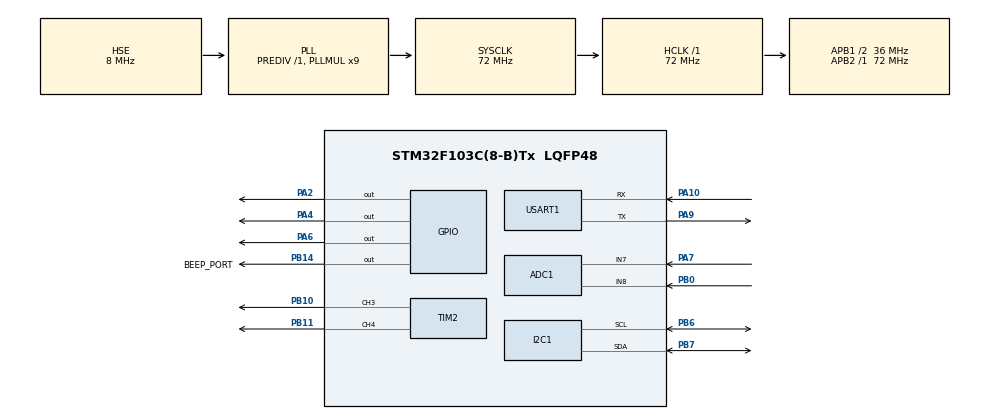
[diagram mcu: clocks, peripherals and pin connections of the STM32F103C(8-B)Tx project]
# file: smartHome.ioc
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ADC1.Channel-16\#ChannelRegularConversion=ADC_CHANNEL_8
ADC1.Channel-17\#ChannelRegularConversion=ADC_CHANNEL_7
ADC1.ContinuousConvMode=DISABLE
ADC1.ExternalTrigConv=ADC_SOFTWARE_START
ADC1.NbrOfConversion=2
ADC1.NbrOfConversionFlag=1
ADC1.Rank-16\#ChannelRegularConversion=1
ADC1.Rank-17\#ChannelRegularConversion=2
ADC1.SamplingTime-16\#ChannelRegularConversion=ADC_SAMPLETIME_1CYCLE_5
ADC1.SamplingTime-17\#ChannelRegularConversion=ADC_SAMPLETIME_1CYCLE_5
ADC1.master=1
Dma.ADC1.0.Direction=DMA_PERIPH_TO_MEMORY
Dma.ADC1.0.Instance=DMA1_Channel1
Dma.ADC1.0.MemDataAlignment=DMA_MDATAALIGN_HALFWORD
Dma.ADC1.0.MemInc=DMA_MINC_ENABLE
Dma.ADC1.0.Mode=DMA_NORMAL
Dma.ADC1.0.PeriphDataAlignment=DMA_PDATAALIGN_HALFWORD
Dma.ADC1.0.PeriphInc=DMA_PINC_DISABLE
Dma.ADC1.0.Priority=DMA_PRIORITY_LOW
Dma.Request0=ADC1
I2C1.I2C_Mode=I2C_Fast
Mcu.Family=STM32F1
Mcu.Name=STM32F103C(8-B)Tx
Mcu.Package=LQFP48
NVIC.ADC1_2_IRQn=true\:0\:0\:false\:false\:true\:true\:true\:true
NVIC.DMA1_Channel1_IRQn=true\:0\:0\:false\:false\:true\:false\:true\:true
NVIC.PriorityGroup=NVIC_PRIORITYGROUP_4
NVIC.TIM2_IRQn=true\:0\:0\:false\:false\:true\:true\:true\:true
NVIC.TIM3_IRQn=true\:0\:0\:false\:false\:true\:true\:true\:true
NVIC.USART1_IRQn=true\:0\:0\:false\:false\:true\:true\:true\:true
PA10.Mode=Asynchronous
PA10.Signal=USART1_RX
PA13.Mode=Serial_Wire
PA13.Signal=SYS_JTMS-SWDIO
PA14.Mode=Serial_Wire
PA14.Signal=SYS_JTCK-SWCLK
PA2.Signal=GPIO_Output
PA4.Signal=GPIO_Output
PA6.Signal=GPIO_Output
PA7.Signal=ADCx_IN7
PA9.Mode=Asynchronous
PA9.Signal=USART1_TX
PB0.Signal=ADCx_IN8
PB10.Signal=S_TIM2_CH3
PB11.Signal=S_TIM2_CH4
PB14.GPIO_Label=BEEP_PORT
PB14.PinState=GPIO_PIN_SET
PB14.Signal=GPIO_Output
PB6.Mode=I2C
PB6.Signal=I2C1_SCL
PB7.Mode=I2C
PB7.Signal=I2C1_SDA
PC14-OSC32_IN.Mode=LSE-External-Oscillator
PC14-OSC32_IN.Signal=RCC_OSC32_IN
PC15-OSC32_OUT.Mode=LSE-External-Oscillator
PC15-OSC32_OUT.Signal=RCC_OSC32_OUT
PD0-OSC_IN.Mode=HSE-External-Oscillator
PD0-OSC_IN.Signal=RCC_OSC_IN
PD1-OSC_OUT.Mode=HSE-External-Oscillator
PD1-OSC_OUT.Signal=RCC_OSC_OUT
ProjectManager.HeapSize=0x200
ProjectManager.StackSize=0x400
ProjectManager.TargetToolchain=MDK-ARM V5.32
RCC.ADCPresc=RCC_ADCPCLK2_DIV6
RCC.AHBFreq_Value=72000000
RCC.APB1CLKDivider=RCC_HCLK_DIV2
RCC.APB1Freq_Value=36000000
RCC.APB1TimFreq_Value=72000000
RCC.APB2Freq_Value=72000000
RCC.APB2TimFreq_Value=72000000
RCC.HCLKFreq_Value=72000000
RCC.PLLMUL=RCC_PLL_MUL9
RCC.PLLSourceVirtual=RCC_PLLSOURCE_HSE
RCC.SYSCLKFreq_VALUE=72000000
RCC.SYSCLKSource=RCC_SYSCLKSOURCE_PLLCLK
RCC.USBFreq_Value=72000000
SH.ADCx_IN7.0=ADC1_IN7,IN7
SH.ADCx_IN8.0=ADC1_IN8,IN8
SH.S_TIM2_CH3.0=TIM2_CH3,PWM Generation3 CH3
SH.S_TIM2_CH4.0=TIM2_CH4,PWM Generation4 CH4
TIM2.Channel-PWM\ Generation3\ CH3=TIM_CHANNEL_3
TIM2.Channel-PWM\ Generation4\ CH4=TIM_CHANNEL_4
TIM3.Period=10000-1
TIM3.Prescaler=7200-1
USART1.VirtualMode=VM_ASYNC
VP_IWDG_VS_IWDG.Mode=IWDG_Activate
VP_TIM2_VS_ClockSourceINT.Mode=Internal
VP_TIM3_VS_ClockSourceINT.Mode=Internal
board=custom

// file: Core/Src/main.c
/* USER CODE BEGIN Header */
/**
  ******************************************************************************
  * @file           : main.c
  * @brief          : Main program body
  ******************************************************************************
  * @attention
  *
  * Copyright (c) 2025 STMicroelectronics.
  * All rights reserved.
  *
  * This software is licensed under terms that can be found in the LICENSE file
  * in the root directory of this software component.
  * If no LICENSE file comes with this software, it is provided AS-IS.
  *
  ******************************************************************************
  */
/* USER CODE END Header */
#include "main.h"
#include "adc.h"
#include "dma.h"
#include "i2c.h"
#include "iwdg.h"
#include "tim.h"
#include "usart.h"
#include "gpio.h"

/* USER CODE BEGIN Includes */

#include "oled/oled.h"
#include "esp8266/esp8266.h"
#include "myUsart/myUsart.h"
#include "led/led.h"
#include "myTimer/myTimer.h"
#include "myAdc/myAdc.h"
#include <string.h>
#include <stdlib.h>
#include <stdio.h>
#include "util/cmdMap.h"

/* USER CODE END Includes */

void SystemClock_Config(void);

/* USER CODE BEGIN 0 */

void EventHandle();

/* USER CODE END 0 */

int main(void)
{

  /* MCU Configuration--------------------------------------------------------*/

  /* Reset of all peripherals, Initializes the Flash interface and the Systick. */
  HAL_Init();

  /* Configure the system clock */
  SystemClock_Config();

  /* Initialize all configured peripherals */
  MX_GPIO_Init();
  MX_DMA_Init();
  MX_I2C1_Init();
  MX_USART1_UART_Init();
  MX_ADC1_Init();
  MX_TIM3_Init();

  MX_TIM2_Init();
  /* USER CODE BEGIN 2 */

  //OLED初始化
  OLED_Init();
  OLED_ShowString(0, 0, "Hiiii!");
  OLED_ShowString(1, 0, "Wait Connecting...");
  //网络初始化
  if(esp8266_init()==HAL_OK)
  OLED_Clear();
  //串口空闲中断接收初始化
  ReceiveData_idle_init();
  //定时器
  HAL_ADCEx_Calibration_Start(&hadc1);
  HAL_TIM_Base_Start_IT(&htim3);
  HAL_TIM_Base_Start(&htim2);
  HAL_TIM_PWM_Start(&htim2, TIM_CHANNEL_3);
  HAL_TIM_PWM_Start(&htim2, TIM_CHANNEL_4);
  //舵机初始化角度为0度
  curtain_servo_init();
  // MX_IWDG_Init();

  /* User code */

  /* USER CODE END 2 */

  /* Infinite loop */
  /* USER CODE BEGIN WHILE */
  while (1)
  {
    EventHandle();
  }
}

void SystemClock_Config(void)
{
  RCC_OscInitTypeDef RCC_OscInitStruct = {0};
  RCC_ClkInitTypeDef RCC_ClkInitStruct = {0};
  RCC_PeriphCLKInitTypeDef PeriphClkInit = {0};

  /** Initializes the RCC Oscillators according to the specified parameters
  * in the RCC_OscInitTypeDef structure.
  */
  RCC_OscInitStruct.OscillatorType = RCC_OSCILLATORTYPE_LSI|RCC_OSCILLATORTYPE_HSE;
  RCC_OscInitStruct.HSEState = RCC_HSE_ON;
  RCC_OscInitStruct.HSEPredivValue = RCC_HSE_PREDIV_DIV1;
  RCC_OscInitStruct.HSIState = RCC_HSI_ON;
  RCC_OscInitStruct.LSIState = RCC_LSI_ON;
  RCC_OscInitStruct.PLL.PLLState = RCC_PLL_ON;
  RCC_OscInitStruct.PLL.PLLSource = RCC_PLLSOURCE_HSE;
  RCC_OscInitStruct.PLL.PLLMUL = RCC_PLL_MUL9;
  if (HAL_RCC_OscConfig(&RCC_OscInitStruct) != HAL_OK)
  {
    Error_Handler();
  }

  /** Initializes the CPU, AHB and APB buses clocks
  */
  RCC_ClkInitStruct.ClockType = RCC_CLOCKTYPE_HCLK|RCC_CLOCKTYPE_SYSCLK
                              |RCC_CLOCKTYPE_PCLK1|RCC_CLOCKTYPE_PCLK2;
  RCC_ClkInitStruct.SYSCLKSource = RCC_SYSCLKSOURCE_PLLCLK;
  RCC_ClkInitStruct.AHBCLKDivider = RCC_SYSCLK_DIV1;
  RCC_ClkInitStruct.APB1CLKDivider = RCC_HCLK_DIV2;
  RCC_ClkInitStruct.APB2CLKDivider = RCC_HCLK_DIV1;

  if (HAL_RCC_ClockConfig(&RCC_ClkInitStruct, FLASH_LATENCY_2) != HAL_OK)
  {
    Error_Handler();
  }
  PeriphClkInit.PeriphClockSelection = RCC_PERIPHCLK_ADC;
  PeriphClkInit.AdcClockSelection = RCC_ADCPCLK2_DIV6;
  if (HAL_RCCEx_PeriphCLKConfig(&PeriphClkInit) != HAL_OK)
  {
    Error_Handler();
  }
}

/* USER CODE BEGIN 4 */
void EventHandle()
{
  //定时器数据上报
  if (timing_flag == 1)
  {
    myAdc_data_public();
    timing_flag = 0;
    OLED_ShowString(0, 0, "temp:");
    OLED_ShowNum(0, 6,(uint8_t)temp_value,2);
    OLED_ShowString(1, 0, "light:");
    OLED_ShowNum(1, 7, (uint8_t)light_value, 2);
  }
  //数据发送
  if (pushData_result_flag == 1)
  {
    OLED_ShowString(3, 0, "public data ERROR");
  }else
  {
    OLED_ShowString(3, 0, "public data OK");
  }
  //温度异常触发警报
  if(temp_abnormal_flag==1)
  {
    HAL_GPIO_WritePin(BEEP_PORT_GPIO_Port, BEEP_PORT_Pin, GPIO_PIN_RESET);
    OLED_ShowString(2, 0, "Temp Abnormal!");
  }else
  {
    HAL_GPIO_WritePin(BEEP_PORT_GPIO_Port, BEEP_PORT_Pin, GPIO_PIN_SET);
  }
  //指令接收处理
  if(cmd_flag==1)
  {
    execute_command(cmd_mqtt_config[read_cmd_index].product, cmd_mqtt_config[read_cmd_index].device,
       cmd_mqtt_config[read_cmd_index].property, cmd_mqtt_config[read_cmd_index].value);
    read_cmd_index = (read_cmd_index++) % CMD_MAX_NUM;
    if(read_cmd_index==write_cmd_index)
    {
      cmd_flag = 0;
    }
  }
  //喂狗
  HAL_IWDG_Refresh(&hiwdg);
}
/* USER CODE END 4 */

void Error_Handler(void)
{
  __disable_irq();
  while (1)
  {
  }
}
